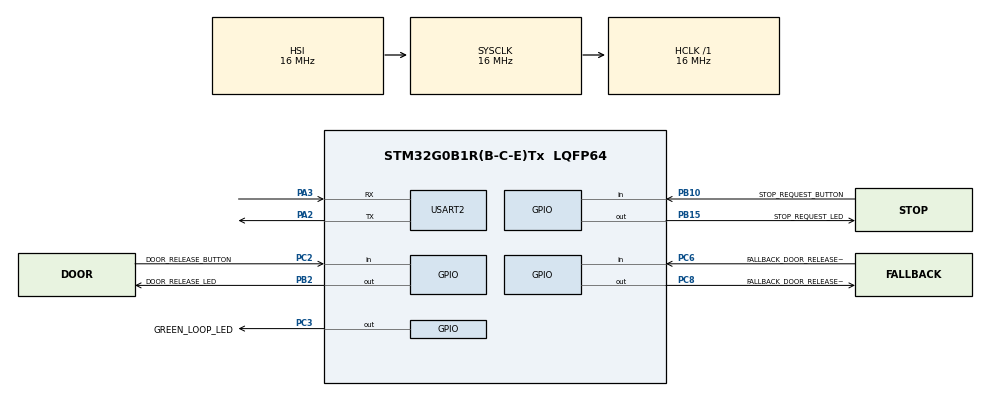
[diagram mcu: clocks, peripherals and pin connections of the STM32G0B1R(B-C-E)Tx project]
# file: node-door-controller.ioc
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Mcu.Family=STM32G0
Mcu.Name=STM32G0B1R(B-C-E)Tx
Mcu.Package=LQFP64
PA2.Mode=Asynchronous
PA2.Signal=USART2_TX
PA3.Mode=Asynchronous
PA3.Signal=USART2_RX
PB10.GPIO_Label=STOP_REQUEST_BUTTON
PB10.GPIO_PuPd=GPIO_PULLUP
PB10.Signal=GPIO_Input
PB15.GPIO_Label=STOP_REQUEST_LED
PB15.Signal=GPIO_Output
PB2.GPIO_Label=DOOR_RELEASE_LED
PB2.Signal=GPIO_Output
PC2.GPIO_Label=DOOR_RELEASE_BUTTON
PC2.GPIO_PuPd=GPIO_PULLUP
PC2.Signal=GPIO_Input
PC3.GPIO_Label=GREEN_LOOP_LED
PC3.Signal=GPIO_Output
PC6.GPIO_Label=FALLBACK_DOOR_RELEASE_BUTTON
PC6.GPIO_PuPd=GPIO_PULLUP
PC6.Signal=GPIO_Input
PC8.GPIO_Label=FALLBACK_DOOR_RELEASE_LED
PC8.Signal=GPIO_Output
ProjectManager.HeapSize=0x200
ProjectManager.StackSize=0x400
ProjectManager.TargetToolchain=STM32CubeIDE
RCC.AHBFreq_Value=16000000
RCC.CortexFreq_Value=16000000
RCC.EXTERNAL_CLOCK_VALUE=12288000
RCC.HCLKFreq_Value=16000000
RCC.HSE_VALUE=8000000
RCC.HSI48_VALUE=48000000
RCC.HSI_VALUE=16000000
RCC.LSE_VALUE=32768
RCC.SYSCLKFreq_VALUE=16000000
RCC.USBFreq_Value=48000000
RCC.VCOOutputFreq_Value=128000000
USART2.VirtualMode-Asynchronous=VM_ASYNC
VP_SYS_VS_DBSignals.Mode=DisableDeadBatterySignals
board=NUCLEO-G0B1RE

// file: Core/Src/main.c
/* USER CODE BEGIN Header */
/**
  ******************************************************************************
  * @file           : main.c
  * @brief          : Main program body
  ******************************************************************************
  * @attention
  *
  * Copyright (c) 2026 STMicroelectronics.
  * All rights reserved.
  *
  * This software is licensed under terms that can be found in the LICENSE file
  * in the root directory of this software component.
  * If no LICENSE file comes with this software, it is provided AS-IS.
  *
  ******************************************************************************
  */
/* USER CODE END Header */
#include "main.h"

/* USER CODE BEGIN Includes */
#include "inputs/input_door_release.h"
#include "inputs/input_fallback_door_release.h"
#include "inputs/input_stop_request.h"

#include "communication/source_vehicle_movement.h"
#include "communication/source_station_detection.h"

#include "supervisors/supervisor_door_release.h"
#include "supervisors/supervisor_fallback_door_release.h"
#include "supervisors/supervisor_door_opening_permission.h"
#include "supervisors/supervisor_stop_request.h"
#include "supervisors/supervisor_door.h"

#include "application/door_release.h"
#include "application/fallback_door_release.h"
#include "application/stop_request.h"
#include "application/door.h"

/* USER CODE END Includes */

UART_HandleTypeDef huart2;

void SystemClock_Config(void);
static void MX_GPIO_Init(void);
static void MX_USART2_UART_Init(void);

int main(void)
{

  /* MCU Configuration--------------------------------------------------------*/

  /* Reset of all peripherals, Initializes the Flash interface and the Systick. */
  HAL_Init();

  /* Configure the system clock */
  SystemClock_Config();

  /* Initialize all configured peripherals */
  MX_GPIO_Init();
  MX_USART2_UART_Init();
  /* USER CODE BEGIN 2 */
  doors_init();
  door_release_init();
  fallback_door_release_init();
  stop_request_init();

  /* USER CODE END 2 */

  /* Infinite loop */
  /* USER CODE BEGIN WHILE */
  while (1)
  {
	  // Inputs
	  input_door_release_task();
	  input_fallback_door_release_task();
	  input_stop_request_task();

	  // Read communication input (mocked)
	  mock_vehicle_movement_task();
	  mock_station_detection_task();

	  // Supervisors
	  supervisor_door_release_task();
	  supervisor_fallback_door_release_task();
	  supervisor_door_opening_permission_task();
	  supervisor_stop_request_task();
	  supervisor_door_task();

	  // State updates
	  door_release_task();
	  fallback_door_release_task();
	  stop_request_task();

	  // Actuators
	  doors_task();

    /* USER CODE END WHILE */

  }
}

void SystemClock_Config(void)
{
  RCC_OscInitTypeDef RCC_OscInitStruct = {0};
  RCC_ClkInitTypeDef RCC_ClkInitStruct = {0};

  /** Configure the main internal regulator output voltage
  */
  HAL_PWREx_ControlVoltageScaling(PWR_REGULATOR_VOLTAGE_SCALE1);

  /** Initializes the RCC Oscillators according to the specified parameters
  * in the RCC_OscInitTypeDef structure.
  */
  RCC_OscInitStruct.OscillatorType = RCC_OSCILLATORTYPE_HSI;
  RCC_OscInitStruct.HSIState = RCC_HSI_ON;
  RCC_OscInitStruct.HSIDiv = RCC_HSI_DIV1;
  RCC_OscInitStruct.HSICalibrationValue = RCC_HSICALIBRATION_DEFAULT;
  RCC_OscInitStruct.PLL.PLLState = RCC_PLL_NONE;
  if (HAL_RCC_OscConfig(&RCC_OscInitStruct) != HAL_OK)
  {
    Error_Handler();
  }

  /** Initializes the CPU, AHB and APB buses clocks
  */
  RCC_ClkInitStruct.ClockType = RCC_CLOCKTYPE_HCLK|RCC_CLOCKTYPE_SYSCLK
                              |RCC_CLOCKTYPE_PCLK1;
  RCC_ClkInitStruct.SYSCLKSource = RCC_SYSCLKSOURCE_HSI;
  RCC_ClkInitStruct.AHBCLKDivider = RCC_SYSCLK_DIV1;
  RCC_ClkInitStruct.APB1CLKDivider = RCC_HCLK_DIV1;

  if (HAL_RCC_ClockConfig(&RCC_ClkInitStruct, FLASH_LATENCY_0) != HAL_OK)
  {
    Error_Handler();
  }
}

static void MX_USART2_UART_Init(void)
{

  huart2.Instance = USART2;
  huart2.Init.BaudRate = 115200;
  huart2.Init.WordLength = UART_WORDLENGTH_8B;
  huart2.Init.StopBits = UART_STOPBITS_1;
  huart2.Init.Parity = UART_PARITY_NONE;
  huart2.Init.Mode = UART_MODE_TX_RX;
  huart2.Init.HwFlowCtl = UART_HWCONTROL_NONE;
  huart2.Init.OverSampling = UART_OVERSAMPLING_16;
  huart2.Init.OneBitSampling = UART_ONE_BIT_SAMPLE_DISABLE;
  huart2.Init.ClockPrescaler = UART_PRESCALER_DIV1;
  huart2.AdvancedInit.AdvFeatureInit = UART_ADVFEATURE_NO_INIT;
  if (HAL_UART_Init(&huart2) != HAL_OK)
  {
    Error_Handler();
  }
  if (HAL_UARTEx_SetTxFifoThreshold(&huart2, UART_TXFIFO_THRESHOLD_1_8) != HAL_OK)
  {
    Error_Handler();
  }
  if (HAL_UARTEx_SetRxFifoThreshold(&huart2, UART_RXFIFO_THRESHOLD_1_8) != HAL_OK)
  {
    Error_Handler();
  }
  if (HAL_UARTEx_DisableFifoMode(&huart2) != HAL_OK)
  {
    Error_Handler();
  }

}

static void MX_GPIO_Init(void)
{
  GPIO_InitTypeDef GPIO_InitStruct = {0};

  /* GPIO Ports Clock Enable */
  __HAL_RCC_GPIOC_CLK_ENABLE();
  __HAL_RCC_GPIOA_CLK_ENABLE();
  __HAL_RCC_GPIOB_CLK_ENABLE();

  /*Configure GPIO pin Output Level */
  HAL_GPIO_WritePin(GPIOC, GREEN_LOOP_LED_Pin|FALLBACK_DOOR_RELEASE_LED_Pin, GPIO_PIN_RESET);

  /*Configure GPIO pin Output Level */
  HAL_GPIO_WritePin(GPIOB, DOOR_RELEASE_LED_Pin|STOP_REQUEST_LED_Pin, GPIO_PIN_RESET);

  /*Configure GPIO pins : DOOR_RELEASE_BUTTON_Pin FALLBACK_DOOR_RELEASE_BUTTON_Pin */
  GPIO_InitStruct.Pin = DOOR_RELEASE_BUTTON_Pin|FALLBACK_DOOR_RELEASE_BUTTON_Pin;
  GPIO_InitStruct.Mode = GPIO_MODE_INPUT;
  GPIO_InitStruct.Pull = GPIO_PULLUP;
  HAL_GPIO_Init(GPIOC, &GPIO_InitStruct);

  /*Configure GPIO pins : GREEN_LOOP_LED_Pin FALLBACK_DOOR_RELEASE_LED_Pin */
  GPIO_InitStruct.Pin = GREEN_LOOP_LED_Pin|FALLBACK_DOOR_RELEASE_LED_Pin;
  GPIO_InitStruct.Mode = GPIO_MODE_OUTPUT_PP;
  GPIO_InitStruct.Pull = GPIO_NOPULL;
  GPIO_InitStruct.Speed = GPIO_SPEED_FREQ_LOW;
  HAL_GPIO_Init(GPIOC, &GPIO_InitStruct);

  /*Configure GPIO pins : DOOR_RELEASE_LED_Pin STOP_REQUEST_LED_Pin */
  GPIO_InitStruct.Pin = DOOR_RELEASE_LED_Pin|STOP_REQUEST_LED_Pin;
  GPIO_InitStruct.Mode = GPIO_MODE_OUTPUT_PP;
  GPIO_InitStruct.Pull = GPIO_NOPULL;
  GPIO_InitStruct.Speed = GPIO_SPEED_FREQ_LOW;
  HAL_GPIO_Init(GPIOB, &GPIO_InitStruct);

  /*Configure GPIO pin : STOP_REQUEST_BUTTON_Pin */
  GPIO_InitStruct.Pin = STOP_REQUEST_BUTTON_Pin;
  GPIO_InitStruct.Mode = GPIO_MODE_INPUT;
  GPIO_InitStruct.Pull = GPIO_PULLUP;
  HAL_GPIO_Init(STOP_REQUEST_BUTTON_GPIO_Port, &GPIO_InitStruct);

}

void Error_Handler(void)
{
  __disable_irq();
  while (1)
  {
  }
}
